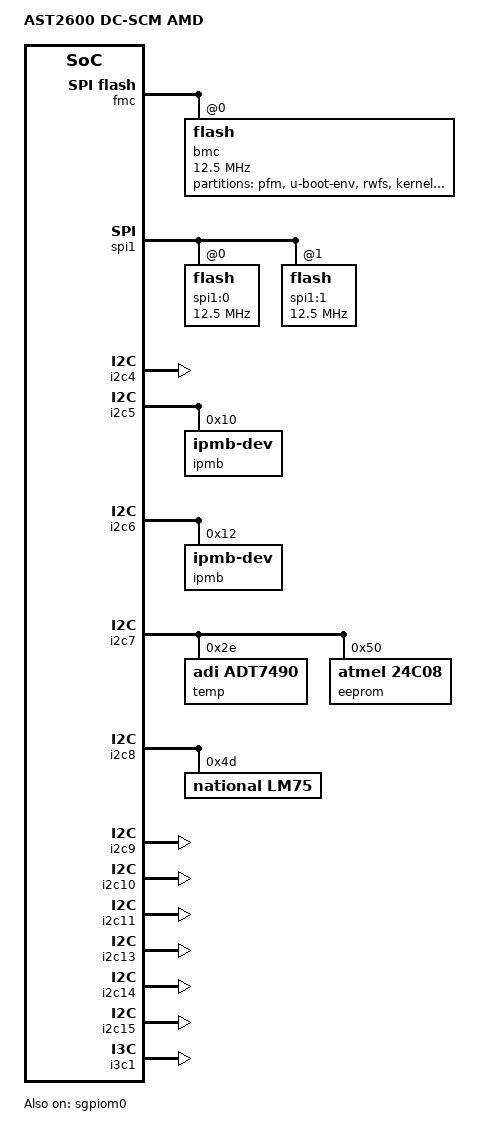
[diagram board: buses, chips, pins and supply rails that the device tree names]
// SPDX-License-Identifier: GPL-2.0-or-later
// Copyright 2019 IBM Corp.

/dts-v1/;

#include "aspeed-ast2600-evb.dts"

/ {
	model = "AST2600 DC-SCM AMD";
};

&fmc {
	fmc-spi-user-mode;
	pinctrl-names = "default";
	pinctrl-0 = <&pinctrl_fwqspi_default>;
	timing-calibration-disabled;
	status = "okay";
	num-cs = <1>;

	flash@0 {
		status = "okay";
		m25p,fast-read;
		label = "bmc";
		spi-max-frequency = <12500000>;
		spi-tx-bus-width = <4>;
		spi-rx-bus-width = <4>;
		partitions {
			compatible = "fixed-partitions";
			#address-cells = <1>;
			#size-cells = <1>;

			/delete-node/ u-boot-env@e0000;
			/delete-node/ kernel@100000;
			/delete-node/ rofs@a00000;
			/delete-node/ rwfs@2e00000;

			pfm@e0000 {
				reg = <0xe0000 0x20000>; // 128KB
				label = "pfm";
			};

			u-boot-env@100000 {
				reg = <0x100000 0x20000>; // 128KB
				label = "u-boot-env";
			};

			rwfs@120000 {
				reg = <0x120000 0xfe0000>; // 16256KB
				label = "rwfs";
			};

			kernel@1100000 {
				reg = <0x1100000 0x900000>; // 9216KB
				label = "kernel";
			};

			rofs@1a00000 {
				reg = <0x1a00000 0x2400000>; // 36864KB
				label = "rofs";
			};

			reserved-1@3e00000 {
				reg = <0x3e00000 0x200000>; // 2048KB
				label = "reserved-1";
			};

			rc-image@4000000 {
				reg = <0x4000000 0x4000000>; // 65536KB
				label = "rc-image";
			};

			image-stg@8000000 {
				reg = <0x8000000 0x4000000>; // 65536KB
				label = "img-stg";
			};

			pch-stg@c000000 {
				reg = <0xc000000 0x2000000>; // 32768KB
				label = "pch-stg";
			};

			pfr-stg@e000000 {
				reg = <0xe000000 0x100000>; // 1024KB
				label = "pfr-stg";
			};

			cpld-stg@e100000 {
				reg = <0xe100000 0x400000>; // 4096KB
				label = "cpld-stg";
			};

			reserved-2@e500000 {
				reg = <0xe500000 0x1b00000>; // 27648KB
				label = "reserved-2";
			};
		};
	};

	flash@1 {
		status = "disabled";
		m25p,fast-read;
		label = "fmc0:1";
		spi-max-frequency = <12500000>;
		spi-tx-bus-width = <1>;
		spi-rx-bus-width = <1>;
	};

	flash@2 {
		status = "disabled";
		m25p,fast-read;
		label = "fmc0:2";
		spi-max-frequency = <12500000>;
		spi-tx-bus-width = <1>;
		spi-rx-bus-width = <1>;
	};
};

&spi1 {
	fmc-spi-user-mode;
	pinctrl-names = "default";
	pinctrl-0 = <&pinctrl_spi1_default &pinctrl_spi1cs1_default
				&pinctrl_qspi1_default>;
	timing-calibration-disabled;
	status = "okay";

	flash@0 {
		status = "okay";
		m25p,fast-read;
		label = "spi1:0";
		spi-max-frequency = <12500000>;
		spi-tx-bus-width = <4>;
		spi-rx-bus-width = <4>;
	};

	flash@1 {
		status = "okay";
		m25p,fast-read;
		label = "spi1:1";
		spi-max-frequency = <12500000>;
		spi-tx-bus-width = <4>;
		spi-rx-bus-width = <4>;
	};
};

&spi2 {
	fmc-spi-user-mode;
	pinctrl-names = "default";
	pinctrl-0 = <&pinctrl_spi2_default &pinctrl_spi2cs1_default
				&pinctrl_spi2cs2_default &pinctrl_qspi2_default>;
	timing-calibration-disabled;
	status = "disabled";

	flash@0 {
		status = "disabled";
		m25p,fast-read;
		label = "spi2:0";
		spi-max-frequency = <12500000>;
		spi-tx-bus-width = <1>;
		spi-rx-bus-width = <1>;
	};

	flash@1 {
		status = "disabled";
		m25p,fast-read;
		label = "spi2:1";
		spi-max-frequency = <12500000>;
		spi-tx-bus-width = <1>;
		spi-rx-bus-width = <1>;
	};

	flash@2 {
		status = "disabled";
		m25p,fast-read;
		label = "spi2:2";
		spi-max-frequency = <12500000>;
		spi-tx-bus-width = <1>;
		spi-rx-bus-width = <1>;
	};

};

&i2c4 {
	status = "okay";
	multi-master;
	/delete-node/ ssif-bmc@10;
};

&i2c5 {
	status = "okay";

	ipmb@10 {
		compatible = "ipmb-dev";
		reg = <0x10>;
		i2c-protocol;
	};
};

&i2c6 {
	status = "okay";

	ipmb@12 {
		compatible = "ipmb-dev";
		reg = <0x12>;
		i2c-protocol;
	};
};

&i2c7 {
	status = "okay";

	temp@2e {
		compatible = "adi,adt7490";
		reg = <0x2e>;
	};

	eeprom@50 {
		compatible = "atmel,24c08";
		reg = <0x50>;
		pagesize = <16>;
	};

};

&i2c8 {
	status = "okay";

	lm75@4d {
		compatible = "national,lm75";
		reg = <0x4d>;
	};

};

&i2c9 {
	status = "okay";
};

&i2c10 {
	status = "okay";
};

&i2c11 {
	status = "okay";
};

&i2c13 {
	status = "okay";
	multi-master;
};

&i2c14 {
	status = "okay";
};

&i2c15 {
	status = "okay";
};

#if 0
&ehci0 {
	status = "disabled";
};
#endif

&ehci1 {
	status = "disabled";
};

&uhci {
	status = "disabled";
};

&vhub {
	status = "disabled";
	pinctrl-names = "default";
#if 0
	pinctrl-0 = <&pinctrl_usb2adp_default>;
#endif
};

#if 0
&udc {
	status = "disabled";
	pinctrl-names = "default";
	pinctrl-0 = <&pinctrl_usb2bd_default>;
};
#endif

&uphyb {
	status = "disabled";
};

&sdc {
	status = "disabled";
};

&sdhci0 {
	status = "disabled";
};

&sdhci1 {
	status = "disabled";
};

&mac0 {
	status = "disabled";
};

&mac2 {
	status = "disabled";
};

&mac3 {
	status = "disabled";
};

&mdio0 {
	status = "disabled";
};

&mdio2 {
	status = "disabled";
};

&mdio3 {
	status = "disabled";
};

&sgpiom0 {
	status = "okay";
	ngpios = <32>;
	gpio-line-names =
		"MAIN_PLD_MINOR_REV_BIT0","","MAIN_PLD_MINOR_REV_BIT1","","MAIN_PLD_MINOR_REV_BIT2","","MAIN_PLD_MINOR_REV_BIT3","",
		"MAIN_PLD_MAJOR_REV_BIT0","","MAIN_PLD_MAJOR_REV_BIT1","","MAIN_PLD_MAJOR_REV_BIT2","","MAIN_PLD_MAJOR_REV_BIT3","",
		"SGPIO_PLD_MAJOR_REV_BIT3","","SGPIO_PLD_MAJOR_REV_BIT2","","SGPIO_PLD_MAJOR_REV_BIT1","","SGPIO_PLD_MAJOR_REV_BIT0","",
		"SGPIO_PLD_MINOR_REV_BIT3","","SGPIO_PLD_MINOR_REV_BIT2","","SGPIO_PLD_MINOR_REV_BIT1","","SGPIO_PLD_MINOR_REV_BIT0","";
};

&gpio0 {
	gpio-line-names =
		/*A0 - A7*/     "", "", "", "", "", "", "", "",
		/*B0 - B7*/     "", "", "", "", "", "", "", "",
		/*C0 - C7*/     "", "", "", "", "", "", "", "",
		/*D0 - D7*/     "", "", "", "", "", "", "", "",
		/*E0 - E7*/     "", "", "", "", "", "", "", "",
		/*F0 - F7*/     "", "", "", "", "", "", "", "",
		/*G0 - G7*/     "", "", "", "", "", "", "", "",
		/*H0 - H7*/     "", "", "", "", "", "", "", "",
		/*I0 - I7*/     "", "", "", "", "", "RESET_OUT", "POST_COMPLETE", "POWER_OUT",
		/*J0 - J7*/     "", "", "", "", "", "", "", "",
		/*K0 - K7*/     "", "", "", "", "", "", "", "",
		/*L0 - L7*/     "", "", "", "", "", "", "", "",
		/*M0 - M7*/     "", "", "", "", "", "", "", "",
		/*N0 - N7*/     "", "", "", "", "", "", "", "",
		/*O0 - O7*/     "", "", "", "", "", "", "", "",
		/*P0 - P7*/     "", "", "", "", "", "", "", "",
		/*Q0 - Q7*/     "", "", "", "", "", "", "", "",
		/*R0 - R7*/     "", "", "", "", "", "", "", "",
		/*S0 - S7*/     "", "", "", "", "", "", "", "",
		/*T0 - T7*/     "", "", "", "", "", "", "", "",
		/*U0 - U7*/     "", "", "", "", "", "", "", "",
		/*V0 - V7*/     "", "", "", "", "", "RESET_BUTTON", "POWER_BUTTON", "",
		/*W0 - W7*/     "", "", "", "", "", "", "", "",
		/*X0 - X7*/     "", "", "", "", "", "", "", "",
		/*Y0 - Y7*/     "PS_PWROK", "", "", "", "", "", "", "",
		/*Z0 - Z7*/     "", "", "", "", "", "", "", "",
		/*AA0 - AA7*/   "", "", "", "", "", "", "", "",
		/*AB0 - AB7*/   "", "", "", "", "", "", "", "",
		/*AC0 - AC7*/   "", "", "", "", "", "", "", "";
};

&i3c0 {
	status = "disabled";
};

&i3c1 {
	status = "okay";

	/delete-property/ jdec-spd;
	/delete-node/ i3cmux@0f,4cc31020000;
	/delete-node/ spd@50,4cc51180000;
	/delete-node/ spd@51,4cc51181000;
};

&i3c2 {
	status = "disabled";
};

&i3c3 {
	status = "disabled";
};
